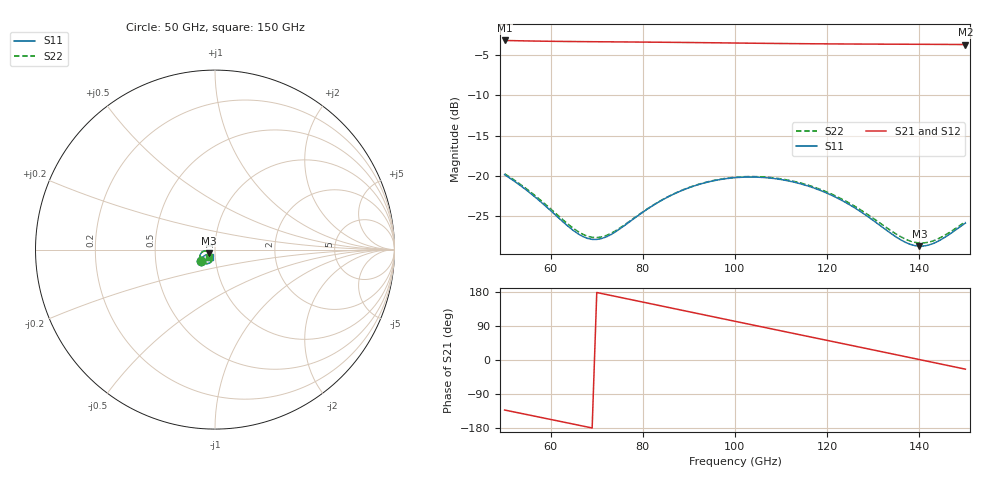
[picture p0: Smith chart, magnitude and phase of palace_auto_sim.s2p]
#  GHZ S DB R 50
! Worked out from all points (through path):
!   101 points, 50 GHz to 150 GHz, reference 50 ohm
!   highest |S21| = -3.19 dB at 50 GHz (marker M1); lowest = -3.7 dB at 150 GHz (marker M2)
!   group delay of S21, straight-line fit = 7.01 ps
!   lowest |S11| = -28.7 dB at 140 GHz (marker M3), VSWR 1.08, Z = 46.9 - j1.72 ohm
!   |S11| at or under -10 dB: start of sweep to end of sweep
!   |S22| runs from -28.3 to -19.7 dB; largest |S21 - S12| = 7.8e-14
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50  -19.83 -140.5  -3.19 -132.0  -3.19 -132.0  -19.71 -140.4
55  -21.85 -147.7  -3.25 -144.4  -3.25 -144.4  -21.69 -147.6
59  -23.77 -150.0  -3.29 -154.4  -3.29 -154.4  -23.56 -150.0
64  -26.32 -145.1  -3.32 -166.9  -3.32 -166.9  -26.05 -145.4
67  -27.49 -136.4  -3.34 -174.4  -3.34 -174.4  -27.21 -137.3
69  -27.84 -128.8  -3.35 -179.4  -3.35 -179.4  -27.59 -130.0
72  -27.54 -117.6  -3.36 173.0  -3.36 173.0  -27.37 -119.1
78  -25.29 -106.0  -3.38 157.9  -3.38 157.9  -25.23 -107.3
84  -23.03 -107.6  -3.41 142.7  -3.41 142.7  -23.00 -108.4
92  -21.06 -118.3  -3.46 122.4  -3.46 122.4  -21.03 -118.7
96  -20.50 -125.2  -3.48 112.3  -3.48 112.3  -20.46 -125.4
100  -20.19 -132.5  -3.51 102.2  -3.51 102.2  -20.14 -132.6
104  -20.12 -139.9  -3.53 92.0  -3.53 92.0  -20.06 -139.9
108  -20.27 -147.2  -3.56 82.0  -3.56 82.0  -20.19 -147.1
112  -20.64 -154.3  -3.58 71.9  -3.58 71.9  -20.55 -154.0
117  -21.45 -162.4  -3.60 59.3  -3.60 59.3  -21.33 -161.9
126  -23.94 -172.2  -3.63 36.6  -3.63 36.6  -23.74 -171.5
134  -27.16 -168.1  -3.65 16.4  -3.65 16.4  -26.82 -167.7
137  -28.21 -160.6  -3.66 8.8  -3.66 8.8  -27.81 -160.7
140  -28.68 -150.1  -3.67 1.2  -3.67 1.2  -28.28 -150.9
144  -28.09 -136.3  -3.68 -8.9  -3.68 -8.9  -27.79 -137.8
150  -25.81 -126.2  -3.70 -24.2  -3.70 -24.2  -25.65 -127.6
